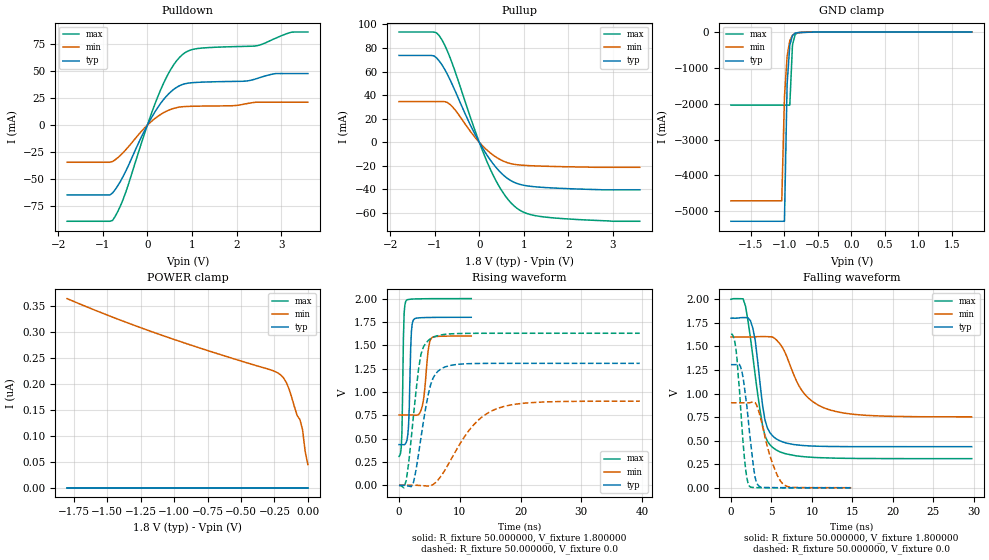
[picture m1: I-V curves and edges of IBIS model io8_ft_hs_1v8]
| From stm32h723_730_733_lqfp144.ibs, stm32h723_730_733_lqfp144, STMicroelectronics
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|   Model io8_ft_hs_1v8
[Model]  io8_ft_hs_1v8
Model_type I/O
Polarity   Non-Inverting
Enable   Active-Low
Vinl =   0.540000V
Vinh =   1.260000V
Vmeas =  0.900000V
Cref =   50.000000pF
Rref =   100.000000M
Vref =   0.0V
C_comp   3.171800pF   3.142100pF   3.257600pF
[Temperature Range]   25.000000   0.140000k   -40.000000
[Pullup Reference]   1.800000V   1.600000V   2.000000V
[Pulldown Reference]   0.0V   0.0V   0.0V
[POWER Clamp Reference]   1.800000V   1.600000V   2.000000V
[GND Clamp Reference]   0.0V   0.0V   0.0V
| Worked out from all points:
|   slope of the pulldown table from 0 to 0.27 V, typ, clamps not added: 14.5 ohm
|   slope of the pullup table from 0 to 0.27 V, typ, clamps not added: 16.7 ohm
|   GND clamp passes 1 mA (typ) near -0.49 V on its own axis
|   rising waveform, R_fixture 50.000000, V_fixture 1.800000: 20-80 % time 348ps typ, 746ps min, 260ps max; typ from 0.436 V to 1.8 V
|   rising waveform, R_fixture 50.000000, V_fixture 0.0: 20-80 % time 2.05ns typ, 5.75ns min, 1.63ns max; typ from 0 V to 1.31 V
|   falling waveform, R_fixture 50.000000, V_fixture 1.800000: 20-80 % time 1.19ns typ, 3.29ns min, 1.65ns max; typ from 1.8 V to 0.436 V
|   falling waveform, R_fixture 50.000000, V_fixture 0.0: 20-80 % time 1.03ns typ, 1.77ns min, 851ps max; typ from 1.31 V to 0 V
[Pulldown]
|Voltage   I(typ)   I(min)   I(max)
-1.8V     -64.86mA   -34.49mA   -89.34mA
-780mV    -63.02mA   -33.74mA   -88.51mA
-540mV    -47.38mA   -25.35mA   -68.57mA
-60mV     -4.803mA   -2.495mA   -7.416mA
300mV     20.37mA    10mA       33.08mA
540mV     31.54mA    14.9mA     52.85mA
780mV     37.68mA    17.08mA    65.31mA
1.14V     39.81mA    17.65mA    71.28mA
2.46V     43.35mA    21.4mA     73.82mA
2.88V     47.94mA    21.4mA     80.87mA
3.24V     47.94mA    21.4mA     86.48mA
3.6V      47.94mA    21.4mA     86.53mA
[Pullup]
|Voltage   I(typ)   I(min)   I(max)
-1.8V     73.72mA    34.53mA    93.57mA
-1.08V    73.72mA    34.53mA    93.57mA
-900mV    69.12mA    34.53mA    90.56mA
-720mV    58.04mA    33.87mA    77.88mA
-600mV    48.53mA    30.06mA    66.25mA
-120mV    8.557mA    5.369mA    12.56mA
240mV     -14.62mA   -8.774mA   -22.23mA
540mV     -27.79mA   -15.97mA   -43.15mA
840mV     -34.85mA   -18.97mA   -55.83mA
1.08V     -36.98mA   -19.71mA   -60.57mA
1.5V      -38.43mA   -20.32mA   -63.52mA
3.6V      -40.3mA    -21.2mA    -67mA
[GND_clamp]
|Voltage   I(typ)   I(min)   I(max)
-1.8V     -5.279A    -4.707A    -2.038A
-1.04V    -5.279A    -4.707A    -2.038A
-1V       -5.279A    -1.816A    -2.038A
-960mV    -1.443A    -671.6mA   -2.038A
-920mV    -368.1mA   -241.4mA   -2.038A
-880mV    -95.78mA   -89.36mA   -359.4mA
-840mV    -32.05mA   -36.9mA    -67.6mA
-800mV    -16.14mA   -18.39mA   -21.96mA
-760mV    -10.94mA   -11.34mA   -13.1mA
-520mV    -1.549mA   -2.045mA   -1.468mA
1.8V      0A         -17.53nA   0A
[POWER_clamp]
|Voltage   I(typ)   I(min)   I(max)
-1.8V     0A         364.3nA    0A
-1.14V    0A         298.1nA    0A
-280mV    0A         227.2nA    0A
-220mV    0A         220.5nA    0A
-180mV    0A         210.9nA    0A
-160mV    0A         202.3nA    0A
-140mV    0A         189.7nA    0A
-80mV     0A         139.2nA    0A
-60mV     0A         131.6nA    0A
-40mV     0A         112.2nA    0A
-20mV     0A         69.75nA    0A
0V        0A         44.72nA    0A
[Ramp]
| variable   typ   min   max
dV/dt_r  0.78396/2.02494n   0.54062/5.74500n   0.97590/1.58926n
dV/dt_f  0.81858/1.17144n   0.50856/3.26808n   1.01521/1.64285n
R_load = 50.000000
[Rising Waveform]
R_fixture= 50.000000
V_fixture= 1.800000
V_fixture_min= 1.600000
V_fixture_max= 2.000000
|time   V(typ)   V(min)   V(max)
0s        435.7mV    752.2mV    308.7mV
480.5ps   435.4mV    752.2mV    572.4mV
720.7ps   434.4mV    752.2mV    1.574V
1.081ns   446.1mV    752.2mV    1.966V
1.562ns   629.2mV    752.2mV    1.991V
2.042ns   1.649V     752.2mV    1.995V
2.402ns   1.775V     751.4mV    1.996V
3.844ns   1.796V     853.5mV    1.998V
5.285ns   1.798V     1.573V     1.999V
11.89ns   1.8V       1.6V       2V
[Rising Waveform]
R_fixture= 50.000000
V_fixture= 0.0
V_fixture_min= 0.0
V_fixture_max= 0.0
|time   V(typ)   V(min)   V(max)
0s        -7.325uV   703.8nV    -1.208mV
800.8ps   -57.01uV   805.9nV    -27.65mV
1.201ns   -3.973mV   159nV      56.03mV
2.402ns   35.48mV    114.3uV    760.1mV
3.604ns   506.8mV    -3.476mV   1.402V
5.205ns   1.078V     -6.249mV   1.572V
7.608ns   1.269V     167.6mV    1.618V
12.01ns   1.304V     626.8mV    1.628V
16.02ns   1.306V     818.2mV    1.629V
39.64ns   1.307V     901.1mV    1.629V
[Falling Waveform]
R_fixture= 50.000000
V_fixture= 1.800000
V_fixture_min= 1.600000
V_fixture_max= 2.000000
|time   V(typ)   V(min)   V(max)
0s        1.8V       1.6V       2V
1.502ns   1.806V     1.6V       2.005V
2.402ns   1.774V     1.6V       1.595V
3.003ns   1.561V     1.603V     1.186V
3.904ns   874.9mV    1.604V     661.7mV
4.505ns   634.1mV    1.604V     493.3mV
5.405ns   530.2mV    1.586V     411.5mV
8.709ns   449.7mV    1.038V     332mV
11.71ns   438.8mV    840.5mV    317mV
29.73ns   435.7mV    752.2mV    308.7mV
[Falling Waveform]
R_fixture= 50.000000
V_fixture= 0.0
V_fixture_min= 0.0
V_fixture_max= 0.0
|time   V(typ)   V(min)   V(max)
0s        1.307V     901.1mV    1.629V
600.6ps   1.307V     901.1mV    1.487V
1.201ns   1.28V      901.1mV    840.5mV
1.802ns   972mV      901.1mV    204.4mV
2.252ns   621.2mV    901.7mV    18.61mV
2.853ns   179mV      911.6mV    2.093mV
3.303ns   32.44mV    846.6mV    945.1uV
4.955ns   1.526mV    303.6mV    -328.1uV
6.456ns   660.9uV    38.64mV    -673.9uV
14.86ns   -7.325uV   703.8nV    -1.208mV
